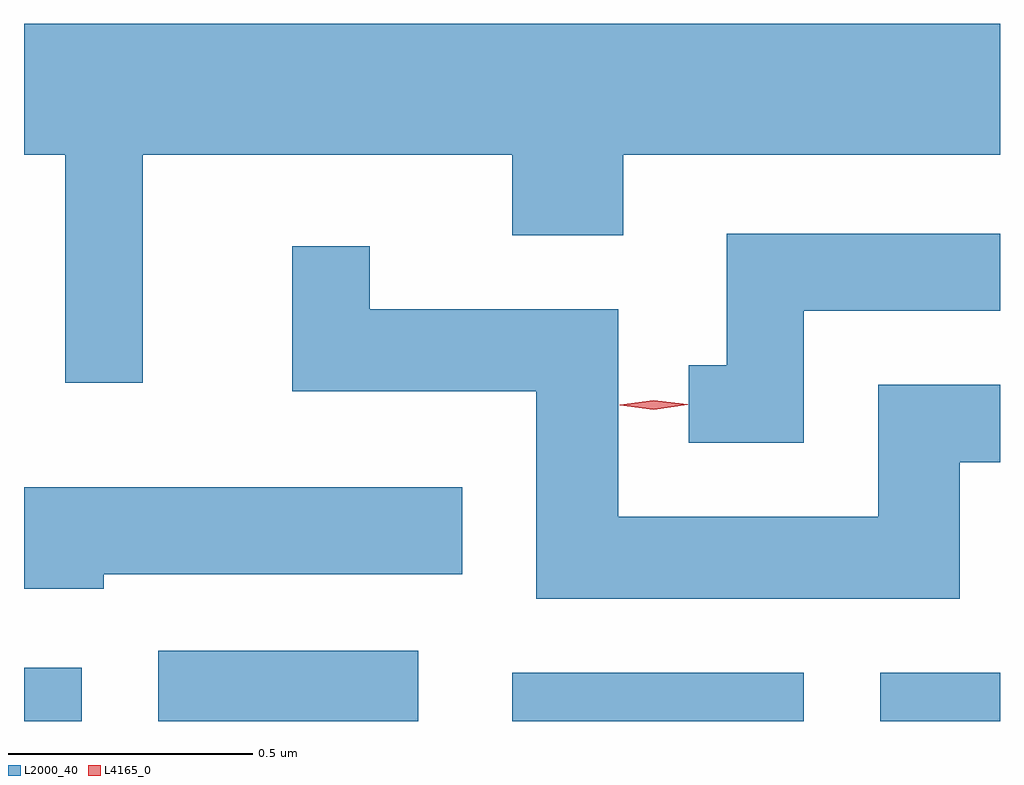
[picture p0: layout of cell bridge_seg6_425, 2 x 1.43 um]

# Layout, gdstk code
import gdstk
lib = gdstk.Library(unit=1e-6, precision=1e-09)
def R(c, l, rs):  # rectangles x0, y0, x1, y1
    for r in rs: c.add(gdstk.rectangle(r[:2], r[2:], *l))
def P(c, l, *ps):  # polygons
    for p in ps: c.add(gdstk.Polygon(p, *l))
L2000_40 = (2000, 40)
L4165_0 = (4165, 0)

bridge_seg6_425 = lib.new_cell('bridge_seg6_425')
R(bridge_seg6_425, L2000_40, [(856.571,1619.915,856.689,1620.024), (856.846,1619.915,857.379,1620.059), (857.571,1619.915,858.169,1620.014), (858.326,1619.915,858.571,1620.014)])
P(bridge_seg6_425, L2000_40, [(856.814,1621.076),(857.571,1621.076),(857.571,1620.911),(857.799,1620.911),(857.799,1621.076),(858.571,1621.076),(858.571,1621.344),(856.571,1621.344),(856.571,1621.076),(856.656,1621.076),(856.656,1620.608),(856.814,1620.608)],
  [(858.169,1620.756),(858.571,1620.756),(858.571,1620.914),(858.011,1620.914),(858.011,1620.644),(857.933,1620.644),(857.933,1620.486),(858.169,1620.486)],
  [(858.489,1620.446),(858.571,1620.446),(858.571,1620.604),(858.321,1620.604),(858.321,1620.334),(857.789,1620.334),(857.789,1620.759),(857.279,1620.759),(857.279,1620.888),(857.121,1620.888),(857.121,1620.591),(857.621,1620.591),(857.621,1620.166),(858.489,1620.166)],
  [(856.734,1620.216),(857.469,1620.216),(857.469,1620.394),(856.571,1620.394),(856.571,1620.186),(856.734,1620.186)])
P(bridge_seg6_425, L4165_0, [(857.861,1620.553),(857.792,1620.562),(857.792,1620.563),(857.792,1620.563),(857.861,1620.573),(857.931,1620.564),(857.931,1620.564),(857.931,1620.563)])

lib.write_gds('bridge_seg6_425.gds')
